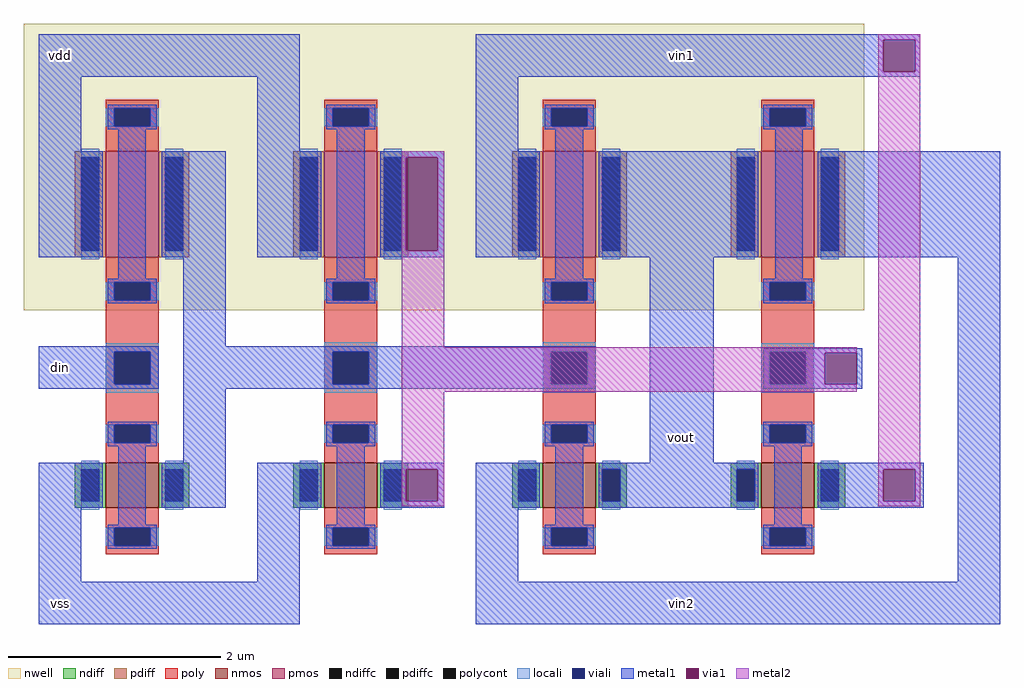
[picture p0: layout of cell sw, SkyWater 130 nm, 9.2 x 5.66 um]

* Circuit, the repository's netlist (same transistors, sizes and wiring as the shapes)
** sch_path: /home/97ms/uci/ip/dac/1.schematics/sw.sch


.subckt sw vdd vss din vin1 vin2 vout
*.iopin vdd
*.iopin vss
*.iopin din
*.iopin vin1
*.iopin vin2
*.iopin vout
XM1 net1 din vdd vdd sky130_fd_pr__pfet_01v8 L=0.5 W=1
XM2 net2 net1 vdd vdd sky130_fd_pr__pfet_01v8 L=0.5 W=1
XM3 vout net1 vin1 vdd sky130_fd_pr__pfet_01v8 L=0.5 W=1
XM4 vin2 net2 vout vdd sky130_fd_pr__pfet_01v8 L=0.5 W=1
XM5 net1 din vss vss sky130_fd_pr__nfet_01v8 L=0.5 W=0.42
XM6 net2 net1 vss vss sky130_fd_pr__nfet_01v8 L=0.5 W=0.42
XM7 vout net1 vin2 vss sky130_fd_pr__nfet_01v8 L=0.5 W=0.42
XM8 vin1 net2 vout vss sky130_fd_pr__nfet_01v8 L=0.5 W=0.42
**.ends
.ends sw

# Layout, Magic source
magic
tech sky130B
magscale 1 2
<< nwell >>
rect -60 0 1524 540
<< poly >>
rect 94 -78 194 19
rect 94 -140 110 -78
rect 178 -140 194 -78
rect 94 -216 194 -140
rect 506 -78 606 10
rect 506 -140 522 -78
rect 590 -140 606 -78
rect 506 -200 606 -140
rect 918 -78 1018 10
rect 918 -140 934 -78
rect 1002 -140 1018 -78
rect 918 -200 1018 -140
rect 1330 -78 1430 10
rect 1330 -140 1346 -78
rect 1414 -140 1430 -78
rect 1330 -200 1430 -140
<< polycont >>
rect 110 -140 178 -78
rect 522 -140 590 -78
rect 934 -140 1002 -78
rect 1346 -140 1414 -78
<< locali >>
rect 94 -78 194 -62
rect 94 -140 110 -78
rect 178 -140 194 -78
rect 94 -156 194 -140
rect 506 -78 606 -60
rect 506 -140 522 -78
rect 590 -140 606 -78
rect 506 -156 606 -140
rect 918 -78 1018 -60
rect 918 -140 934 -78
rect 1002 -140 1018 -78
rect 918 -156 1018 -140
rect 1330 -78 1430 -62
rect 1330 -140 1346 -78
rect 1414 -140 1430 -78
rect 1330 -156 1430 -140
<< viali >>
rect 110 -140 178 -78
rect 522 -140 590 -78
rect 934 -140 1002 -78
rect 1346 -140 1414 -78
<< metal1 >>
rect -32 440 460 520
rect -32 300 48 440
rect -32 100 88 300
rect 118 58 170 342
rect 380 300 460 440
rect 792 510 1630 520
rect 792 450 1560 510
rect 1620 450 1630 510
rect 792 440 1630 450
rect 200 100 320 300
rect 380 100 500 300
rect 240 -68 320 100
rect 530 58 582 342
rect 792 300 872 440
rect 612 288 732 300
rect 612 112 660 288
rect 720 112 732 288
rect 612 100 732 112
rect 792 100 912 300
rect 942 58 994 342
rect 1024 100 1324 300
rect -32 -78 194 -68
rect -32 -140 110 -78
rect 178 -140 194 -78
rect -32 -148 194 -140
rect 240 -78 1018 -68
rect 240 -140 522 -78
rect 590 -140 934 -78
rect 1002 -140 1018 -78
rect 240 -148 1018 -140
rect -32 -372 88 -288
rect -32 -512 48 -372
rect 118 -404 170 -256
rect 240 -288 320 -148
rect 200 -372 320 -288
rect 380 -372 500 -288
rect 380 -512 460 -372
rect 530 -404 582 -256
rect 612 -300 732 -288
rect 612 -360 660 -300
rect 720 -360 732 -300
rect 612 -372 732 -360
rect 792 -372 912 -288
rect -32 -592 460 -512
rect 792 -512 872 -372
rect 942 -404 994 -256
rect 1120 -288 1240 100
rect 1356 58 1408 342
rect 1436 100 1780 300
rect 1334 -78 1520 -72
rect 1334 -140 1346 -78
rect 1414 -80 1520 -78
rect 1414 -140 1450 -80
rect 1510 -140 1520 -80
rect 1334 -148 1520 -140
rect 1070 -372 1278 -288
rect 1354 -404 1406 -256
rect 1436 -300 1636 -288
rect 1436 -360 1560 -300
rect 1620 -360 1636 -300
rect 1436 -372 1636 -360
rect 1700 -512 1780 100
rect 792 -592 1780 -512
<< via1 >>
rect 1560 450 1620 510
rect 660 112 720 288
rect 660 -360 720 -300
rect 1450 -140 1510 -80
rect 1560 -360 1620 -300
<< metal2 >>
rect 1550 510 1630 520
rect 1550 450 1560 510
rect 1620 450 1630 510
rect 652 288 732 300
rect 652 112 660 288
rect 720 112 732 288
rect 652 -70 732 112
rect 652 -80 1510 -70
rect 652 -140 1450 -80
rect 652 -154 1510 -140
rect 652 -300 732 -154
rect 652 -360 660 -300
rect 720 -360 732 -300
rect 652 -370 732 -360
rect 1550 -300 1630 450
rect 1550 -360 1560 -300
rect 1620 -360 1630 -300
rect 1550 -370 1630 -360
use sky130_fd_pr__pfet_01v8_XPG7Y6  XM1
transform 1 0 144 0 1 200
box -144 -200 144 200
use sky130_fd_pr__pfet_01v8_XPG7Y6  XM2
transform 1 0 556 0 1 200
box -144 -200 144 200
use sky130_fd_pr__pfet_01v8_XPG7Y6  XM3
transform 1 0 968 0 1 200
box -144 -200 144 200
use sky130_fd_pr__pfet_01v8_XPG7Y6  XM4
transform 1 0 1380 0 1 200
box -144 -200 144 200
use sky130_fd_pr__nfet_01v8_J3M27M  XM5
transform 1 0 144 0 1 -330
box -108 -130 108 130
use sky130_fd_pr__nfet_01v8_J3M27M  XM6
transform 1 0 556 0 1 -330
box -108 -130 108 130
use sky130_fd_pr__nfet_01v8_J3M27M  XM7
transform 1 0 968 0 1 -330
box -108 -130 108 130
use sky130_fd_pr__nfet_01v8_J3M27M  XM8
transform 1 0 1380 0 1 -330
box -108 -130 108 130
<< labels >>
flabel metal1 -32 440 48 520 0 FreeSans 256 0 0 0 vdd
port 0 nsew
flabel metal1 -32 -592 48 -512 0 FreeSans 256 0 0 0 vss
port 1 nsew
flabel metal1 1140 -280 1220 -200 0 FreeSans 256 0 0 0 vout
port 5 nsew
flabel metal1 1140 -592 1220 -512 0 FreeSans 256 0 0 0 vin2
port 4 nsew
flabel metal1 1140 440 1220 520 0 FreeSans 256 0 0 0 vin1
port 3 nsew
flabel metal1 -32 -148 48 -68 0 FreeSans 256 0 0 0 din
port 2 nsew
<< end >>

# cell sky130_fd_pr__pfet_01v8_XPG7Y6: kit device sky130_fd_pr__pfet_01v8, w 1.0 l 0.5 m 1 nf 1 diffcov 100 polycov 100 guard 0 glc 1 grc 1 gtc 1 gbc 1 tbcov 100 rlcov 100 topc 1 botc 1 poverlap 0 doverlap 1 lmin 0.15 wmin 0.42 compatible {sky130_fd_pr__pfet_01v8 sky130_fd_pr__pfet_01v8_lvt sky130_fd_pr__pfet_01v8_hvt sky130_fd_pr__pfet_g5v0d10v5} full_metal 1 viasrc 100 viadrn 100 viagate 100 viagb 0 viagr 0 viagl 0 viagt 0

# cell sky130_fd_pr__nfet_01v8_J3M27M: kit device sky130_fd_pr__nfet_01v8, w 0.42 l 0.5 m 1 nf 1 diffcov 100 polycov 100 guard 0 glc 1 grc 1 gtc 1 gbc 1 tbcov 100 rlcov 100 topc 1 botc 1 poverlap 0 doverlap 1 lmin 0.15 wmin 0.42 compatible {sky130_fd_pr__nfet_01v8 sky130_fd_pr__nfet_01v8_lvt sky130_fd_bs_flash__special_sonosfet_star sky130_fd_pr__nfet_g5v0d10v5 sky130_fd_pr__nfet_05v0_nvt sky130_fd_pr__nfet_03v3_nvt} full_metal 1 viasrc 100 viadrn 100 viagate 100 viagb 0 viagr 0 viagl 0 viagt 0
